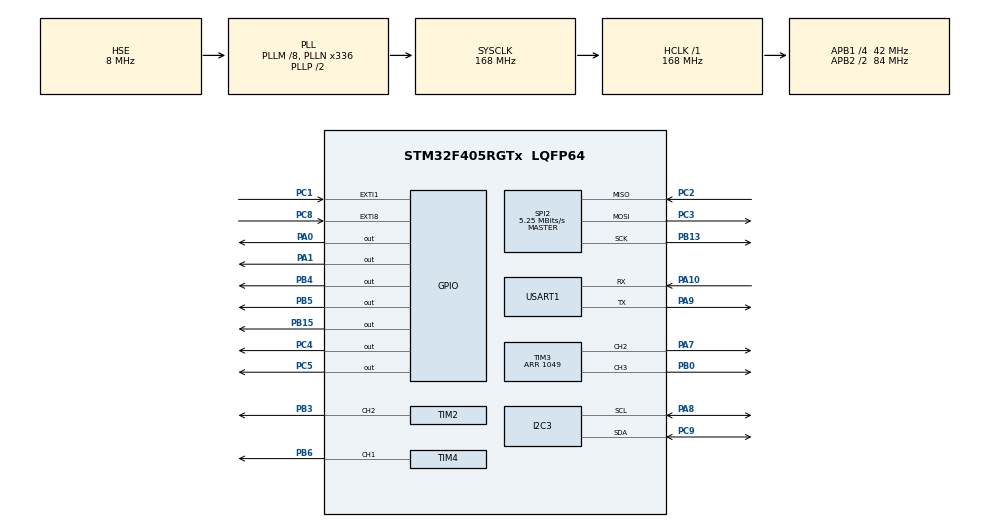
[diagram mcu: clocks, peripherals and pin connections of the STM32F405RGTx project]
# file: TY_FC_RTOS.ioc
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FREERTOS.INCLUDE_uxTaskGetStackHighWaterMark2=1
FREERTOS.INCLUDE_xEventGroupSetBitFromISR=1
FREERTOS.Tasks01=defaultTask,24,128,StartDefaultTask,Default,NULL,Dynamic,NULL,NULL
FREERTOS.configCHECK_FOR_STACK_OVERFLOW=2
FREERTOS.configUSE_MALLOC_FAILED_HOOK=1
Mcu.Family=STM32F4
Mcu.Name=STM32F405RGTx
Mcu.Package=LQFP64
NVIC.PriorityGroup=NVIC_PRIORITYGROUP_4
NVIC.TIM1_UP_TIM10_IRQn=true\:15\:0\:false\:false\:true\:false\:false\:true\:true
NVIC.TimeBase=TIM1_UP_TIM10_IRQn
NVIC.TimeBaseIP=TIM1
PA0-WKUP.Signal=GPIO_Output
PA1.Signal=GPIO_Output
PA10.Mode=Asynchronous
PA10.Signal=USART1_RX
PA13.Mode=Serial_Wire
PA13.Signal=SYS_JTMS-SWDIO
PA14.Mode=Serial_Wire
PA14.Signal=SYS_JTCK-SWCLK
PA7.Signal=S_TIM3_CH2
PA8.Mode=I2C
PA8.Signal=I2C3_SCL
PA9.Mode=Asynchronous
PA9.Signal=USART1_TX
PB0.Signal=S_TIM3_CH3
PB13.Mode=Full_Duplex_Master
PB13.Signal=SPI2_SCK
PB15.Signal=GPIO_Output
PB3.Signal=S_TIM2_CH2
PB4.Signal=GPIO_Output
PB5.Signal=GPIO_Output
PB6.Signal=S_TIM4_CH1
PC1.Signal=GPXTI1
PC2.Mode=Full_Duplex_Master
PC2.Signal=SPI2_MISO
PC3.Mode=Full_Duplex_Master
PC3.Signal=SPI2_MOSI
PC4.Signal=GPIO_Output
PC5.Signal=GPIO_Output
PC8.Signal=GPXTI8
PC9.Mode=I2C
PC9.Signal=I2C3_SDA
PH0-OSC_IN.Mode=HSE-External-Oscillator
PH0-OSC_IN.Signal=RCC_OSC_IN
PH1-OSC_OUT.Mode=HSE-External-Oscillator
PH1-OSC_OUT.Signal=RCC_OSC_OUT
ProjectManager.HeapSize=0x200
ProjectManager.StackSize=0x400
ProjectManager.TargetToolchain=MDK-ARM V5.32
RCC.48MHZClocksFreq_Value=84000000
RCC.AHBFreq_Value=168000000
RCC.APB1CLKDivider=RCC_HCLK_DIV4
RCC.APB1Freq_Value=42000000
RCC.APB1TimFreq_Value=84000000
RCC.APB2CLKDivider=RCC_HCLK_DIV2
RCC.APB2Freq_Value=84000000
RCC.APB2TimFreq_Value=168000000
RCC.CortexFreq_Value=168000000
RCC.HCLKFreq_Value=168000000
RCC.HSE_VALUE=8000000
RCC.HSI_VALUE=16000000
RCC.LSE_VALUE=32768
RCC.PLLM=8
RCC.PLLN=336
RCC.PLLSourceVirtual=RCC_PLLSOURCE_HSE
RCC.SYSCLKFreq_VALUE=168000000
RCC.SYSCLKSource=RCC_SYSCLKSOURCE_PLLCLK
RCC.VCOOutputFreq_Value=336000000
SH.S_TIM2_CH2.0=TIM2_CH2,PWM Generation2 CH2
SH.S_TIM3_CH2.0=TIM3_CH2,PWM Generation2 CH2
SH.S_TIM3_CH3.0=TIM3_CH3,PWM Generation3 CH3
SH.S_TIM4_CH1.0=TIM4_CH1,PWM Generation1 CH1
SPI2.BaudRatePrescaler=SPI_BAUDRATEPRESCALER_8
SPI2.CalculateBaudRate=5.25 MBits/s
SPI2.Direction=SPI_DIRECTION_2LINES
SPI2.Mode=SPI_MODE_MASTER
SPI2.VirtualType=VM_MASTER
TIM2.Channel-PWM\ Generation2\ CH2=TIM_CHANNEL_2
TIM3.Channel-PWM\ Generation2\ CH2=TIM_CHANNEL_2
TIM3.Channel-PWM\ Generation3\ CH3=TIM_CHANNEL_3
TIM3.Period=1049
TIM4.Channel-PWM\ Generation1\ CH1=TIM_CHANNEL_1
TIM4.Period=1049
USART1.VirtualMode=VM_ASYNC
VP_FREERTOS_VS_CMSIS_V2.Mode=CMSIS_V2
VP_SYS_VS_tim1.Mode=TIM1
board=custom

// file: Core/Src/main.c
/* USER CODE BEGIN Header */
/**
  ******************************************************************************
  * @file           : main.c
  * @brief          : Main program body
  ******************************************************************************
  * @attention
  *
  * Copyright (c) 2026 STMicroelectronics.
  * All rights reserved.
  *
  * This software is licensed under terms that can be found in the LICENSE file
  * in the root directory of this software component.
  * If no LICENSE file comes with this software, it is provided AS-IS.
  *
  ******************************************************************************
  */
/* USER CODE END Header */
#include "main.h"
#include "cmsis_os.h"
#include "i2c.h"
#include "spi.h"
#include "tim.h"
#include "usart.h"
#include "gpio.h"

/* USER CODE BEGIN Includes */
#include "mytask.h"
/* USER CODE END Includes */

void SystemClock_Config(void);
void MX_FREERTOS_Init(void);

int main(void)
{

  /* MCU Configuration--------------------------------------------------------*/

  /* Reset of all peripherals, Initializes the Flash interface and the Systick. */
  HAL_Init();

  /* Configure the system clock */
  SystemClock_Config();

  /* Initialize all configured peripherals */
  MX_GPIO_Init();
  MX_I2C3_Init();
  MX_SPI2_Init();
  MX_TIM2_Init();
  MX_TIM3_Init();
  MX_TIM4_Init();
  MX_USART1_UART_Init();
  /* USER CODE BEGIN 2 */
  HAL_GPIO_WritePin(GPIOB, GPIO_PIN_15, GPIO_PIN_SET);
  NRF_Init();
  HAL_Delay(500);
  mpu6050_init();
  HAL_Delay(500);
  HAL_GPIO_WritePin(GPIOB, GPIO_PIN_15, GPIO_PIN_RESET);
  /* USER CODE END 2 */

  /* Init scheduler */
  osKernelInitialize();  /* Call init function for freertos objects (in cmsis_os2.c) */
  MX_FREERTOS_Init();

  /* Start scheduler */
  osKernelStart();
  /* We should never get here as control is now taken by the scheduler */

  /* Infinite loop */
  while (1)
  {

  }
}

void SystemClock_Config(void)
{
  RCC_OscInitTypeDef RCC_OscInitStruct = {0};
  RCC_ClkInitTypeDef RCC_ClkInitStruct = {0};

  /** Configure the main internal regulator output voltage
  */
  __HAL_RCC_PWR_CLK_ENABLE();
  __HAL_PWR_VOLTAGESCALING_CONFIG(PWR_REGULATOR_VOLTAGE_SCALE1);

  /** Initializes the RCC Oscillators according to the specified parameters
  * in the RCC_OscInitTypeDef structure.
  */
  RCC_OscInitStruct.OscillatorType = RCC_OSCILLATORTYPE_HSE;
  RCC_OscInitStruct.HSEState = RCC_HSE_ON;
  RCC_OscInitStruct.PLL.PLLState = RCC_PLL_ON;
  RCC_OscInitStruct.PLL.PLLSource = RCC_PLLSOURCE_HSE;
  RCC_OscInitStruct.PLL.PLLM = 8;
  RCC_OscInitStruct.PLL.PLLN = 336;
  RCC_OscInitStruct.PLL.PLLP = RCC_PLLP_DIV2;
  RCC_OscInitStruct.PLL.PLLQ = 4;
  if (HAL_RCC_OscConfig(&RCC_OscInitStruct) != HAL_OK)
  {
    Error_Handler();
  }

  /** Initializes the CPU, AHB and APB buses clocks
  */
  RCC_ClkInitStruct.ClockType = RCC_CLOCKTYPE_HCLK|RCC_CLOCKTYPE_SYSCLK
                              |RCC_CLOCKTYPE_PCLK1|RCC_CLOCKTYPE_PCLK2;
  RCC_ClkInitStruct.SYSCLKSource = RCC_SYSCLKSOURCE_PLLCLK;
  RCC_ClkInitStruct.AHBCLKDivider = RCC_SYSCLK_DIV1;
  RCC_ClkInitStruct.APB1CLKDivider = RCC_HCLK_DIV4;
  RCC_ClkInitStruct.APB2CLKDivider = RCC_HCLK_DIV2;

  if (HAL_RCC_ClockConfig(&RCC_ClkInitStruct, FLASH_LATENCY_5) != HAL_OK)
  {
    Error_Handler();
  }
}

void HAL_TIM_PeriodElapsedCallback(TIM_HandleTypeDef *htim)
{
  if (htim->Instance == TIM1)
  {
    HAL_IncTick();
  }
}

void Error_Handler(void)
{
  __disable_irq();
  while (1)
  {
  }
}

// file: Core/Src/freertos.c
/* USER CODE BEGIN Header */
/**
  ******************************************************************************
  * File Name          : freertos.c
  * Description        : Code for freertos applications
  ******************************************************************************
  * @attention
  *
  * Copyright (c) 2026 STMicroelectronics.
  * All rights reserved.
  *
  * This software is licensed under terms that can be found in the LICENSE file
  * in the root directory of this software component.
  * If no LICENSE file comes with this software, it is provided AS-IS.
  *
  ******************************************************************************
  */
/* USER CODE END Header */

#include "FreeRTOS.h"
#include "task.h"
#include "main.h"
#include "cmsis_os.h"

/* USER CODE BEGIN Includes */
#include "queue.h"
#include "MPU6050_0.h"
#include "PID.h"
#include "NRF24L01.h"
#include "Filter.h"
#include "tim.h"
#include "spi.h"
#include "semphr.h"
#include <stdio.h>
/* USER CODE END Includes */

/* USER CODE BEGIN PD */
#define TASK_PRIORITY_NRF osPriorityNormal
#define TASK_PRIORITY_MPU osPriorityNormal
#define TASK_PRIORITY_PID osPriorityNormal

#define TASK_STACK_SIZE_NRF  512
#define TASK_STACK_SIZE_MPU  512
#define TASK_STACK_SIZE_PID  512

#define QUEUE_LENGTH_MPU_DATA     1
#define QUEUE_LENGTH_NRF_DATA     1

#define MAX_SPEED 839
#define INIT_SPEED 0
#define M1_OFFEST_K 0.93f
#define M2_OFFEST_K 1.0f
#define M3_OFFEST_K 0.9f
#define M4_OFFEST_K 0.93f

// typedef struct {
//     float gyro_x;    // 角速度 (deg/s)
//     float gyro_y;
//     float gyro_z;
//     float roll;     // 加速度 (g)
//     float pitch;
// } MPU_Data_t;

PID_Struct pitch_pid = {.kp = 10.0f,.ki = 0.0f ,.kd = 0.0f};
PID_Struct gyro_y_pid ={.kp = 0.48f,.ki = 0.0f ,.kd = 0.04f};
PID_Struct roll_pid = {.kp = 10.0f,.ki = 0.0f ,.kd = 0.0f};
PID_Struct gyro_x_pid ={.kp = 0.48f,.ki = 0.0f ,.kd = 0.04f};
PID_Struct gyro_z_pid ={.kp = 0.5f,.ki = 0.0f ,.kd = 0.0f};

void MPU6050_ReadTask(void *argument);
void NRF24L01_RecvTask(void *argument);
void PID_Task(void *argument);
void PID_Process(float roll_angle,float pitch_angle,float dt,MPU_Data_PID_t *mpu_pid);
void Start_Wait(void);
void motor_init_obyo(void);
void motor_init_together(void);
void speed_contral(int *value);
void setup_contral(int *setup);
void Motor_Totol_Control(Target_State_t *motor_target_state);
void NRF_Init(void);

Target_State_t target_state = {.target_speed = 0,.target_roll = 0,.target_pitch = 0};

int m1_value = 0;
int m2_value = 0;
int m3_value = 0;
int m4_value = 0;

int m1_step = 0;
int m2_step = 0;
int m3_step = 0;
int m4_step = 0;
/* USER CODE END PD */

/* USER CODE BEGIN PM */
osThreadId_t MPU6050_ReadTaskHandle;
osThreadId_t NRF24L01_RecvTaskHandle;
osThreadId_t PID_CalcTaskHandle;
osThreadId_t Motor_CtrlTaskHandle;

osMessageQueueId_t MPU_DataQueueHandle;
osMessageQueueId_t NRF_RecvQueueHandle;

osSemaphoreId_t NRF_RecvSemaphoreHandle;
/* USER CODE END PM */

/* USER CODE BEGIN Variables */
void Start_task(void);
/* USER CODE END Variables */
/* Definitions for defaultTask */
osThreadId_t defaultTaskHandle;
const osThreadAttr_t defaultTask_attributes = {
  .name = "defaultTask",
  .stack_size = 128 * 4,
  .priority = (osPriority_t) osPriorityNormal,
};

/* USER CODE BEGIN FunctionPrototypes */
const osThreadAttr_t MPU6050_ReadTask_attributes = {
  .name = "MPU6050_ReadTask",
  .stack_size = TASK_STACK_SIZE_MPU * 4,
  .priority = TASK_PRIORITY_MPU,
};

const osThreadAttr_t NRF24L01_RecvTask_attributes = {
  .name = "NRF24L01_RecvTask",
  .stack_size = TASK_STACK_SIZE_NRF * 4,
  .priority = TASK_PRIORITY_NRF,
};

const osThreadAttr_t PID_CalcTask_attributes = {
  .name = "PID_CalcTask",
  .stack_size = TASK_STACK_SIZE_PID * 4,
  .priority = TASK_PRIORITY_PID,
};

const osMessageQueueAttr_t IMU_DataQueue_attributes = {
  .name = "IMU_DataQueue"
};
const osMessageQueueAttr_t NRF_RecvQueue_attributes = {
  .name = "NRF_RecvQueue"
};

const osSemaphoreAttr_t NRF_RecvSemaphore_attributes = {
  .name = "NRF_RecvSemaphore"
};
/* USER CODE END FunctionPrototypes */

void StartDefaultTask(void *argument);

void MX_FREERTOS_Init(void); /* (MISRA C 2004 rule 8.1) */

/* Hook prototypes */
void vApplicationStackOverflowHook(xTaskHandle xTask, signed char *pcTaskName);
void vApplicationMallocFailedHook(void);

/* USER CODE BEGIN 4 */
void vApplicationStackOverflowHook(xTaskHandle xTask, signed char *pcTaskName)
{
   /* Run time stack overflow checking is performed if
   configCHECK_FOR_STACK_OVERFLOW is defined to 1 or 2. This hook function is
   called if a stack overflow is detected. */
}
/* USER CODE END 4 */

/* USER CODE BEGIN 5 */
void vApplicationMallocFailedHook(void)
{
   /* vApplicationMallocFailedHook() will only be called if
   configUSE_MALLOC_FAILED_HOOK is set to 1 in FreeRTOSConfig.h. It is a hook
   function that will get called if a call to pvPortMalloc() fails.
   pvPortMalloc() is called internally by the kernel whenever a task, queue,
   timer or semaphore is created. It is also called by various parts of the
   demo application. If heap_1.c or heap_2.c are used, then the size of the
   heap available to pvPortMalloc() is defined by configTOTAL_HEAP_SIZE in
   FreeRTOSConfig.h, and the xPortGetFreeHeapSize() API function can be used
   to query the size of free heap space that remains (although it does not
   provide information on how the remaining heap might be fragmented). */
}
/* USER CODE END 5 */

void MX_FREERTOS_Init(void) {
  /* USER CODE BEGIN Init */
  NRF_RecvSemaphoreHandle = osSemaphoreNew(1, 0, &NRF_RecvSemaphore_attributes);

  /* 创建消息队列 */
  MPU_DataQueueHandle = osMessageQueueNew(QUEUE_LENGTH_MPU_DATA, sizeof(MPU_Data_PID_t), &IMU_DataQueue_attributes);
  NRF_RecvQueueHandle = osMessageQueueNew(QUEUE_LENGTH_NRF_DATA, sizeof(Target_State_t), &NRF_RecvQueue_attributes);

  /* 创建任务 */
  MPU6050_ReadTaskHandle = osThreadNew(MPU6050_ReadTask, NULL, &MPU6050_ReadTask_attributes);
  NRF24L01_RecvTaskHandle = osThreadNew(NRF24L01_RecvTask, NULL, &NRF24L01_RecvTask_attributes);
  PID_CalcTaskHandle = osThreadNew(PID_Task, NULL, &PID_CalcTask_attributes);

  if (MPU6050_ReadTaskHandle == NULL)
  {
      printf("MPU task create failed\r\n");
  }
  else
  {
      printf("MPU task create ok\r\n");
  }

  if (NRF24L01_RecvTaskHandle == NULL)
  {
      printf("NRF task create failed\r\n");
  }
  else
  {
      printf("NRF task create ok\r\n");
  }

  if (PID_CalcTaskHandle == NULL)
  {
      printf("PID task create failed\r\n");
  }
  else
  {
      printf("PID task create ok\r\n");
  }

  /* USER CODE END Init */

  /* Create the thread(s) */
  /* creation of defaultTask */
  defaultTaskHandle = osThreadNew(StartDefaultTask, NULL, &defaultTask_attributes);

}

void StartDefaultTask(void *argument)
{
  for(;;)
  {
    osDelay(1);
  }
}

/* USER CODE BEGIN Application */
void MPU6050_ReadTask(void *argument)
{
  // printf("MPU_Read_Task_Start\n");
  MPU_Data_PID_t mpu_pid_data_send;
  uint32_t next_wake_time;
  next_wake_time = osKernelGetTickCount();
  uint16_t print_cnt = 0;
  MPU_Data_PID_t old_data;
  while (1)
  {
    MPU6050_GETANGLE(0.005,&mpu_pid_data_send);
     if (++print_cnt >= 100)
        {
          print_cnt = 0;
          // printf("MPU roll=%.1f pitch=%.1f gx=%.1f gy=%.1f gz=%.1f\r\n",
          //          (double)mpu_pid_data_send.roll,
          //          (double)mpu_pid_data_send.pitch,
          //          (double)mpu_pid_data_send.gyro_x,
          //          (double)mpu_pid_data_send.gyro_y,
          //          (double)mpu_pid_data_send.gyro_z);
        }
        if (osMessageQueuePut(MPU_DataQueueHandle, &mpu_pid_data_send, 0, 0) != osOK)
        {
            osMessageQueueGet(MPU_DataQueueHandle, &old_data, NULL, 0);
            osMessageQueuePut(MPU_DataQueueHandle, &mpu_pid_data_send, 0, 0);
        }
    next_wake_time += 5;
    osDelayUntil(next_wake_time);
  }
}
void PID_Task(void *argument)
{
  // printf("PID_Task_Start\n");
  Target_State_t PID_Target_State = {0};
  MPU_Data_PID_t mpu_pid_data_recv = {0};
  uint32_t next_wake_time;
  next_wake_time = osKernelGetTickCount();
  uint16_t print_cnt = 0;
  while (1)
  {
    if (osMessageQueueGet(MPU_DataQueueHandle, &mpu_pid_data_recv, NULL, 0) == osOK) {

    }else{
      // printf("mpu_pid_data_recv_Error\n");
    }
    if(osMessageQueueGet(NRF_RecvQueueHandle, &PID_Target_State, NULL, 0) == osOK){

    }
    else{
      // printf("PID_Target_State_Error\n");
      PID_Target_State.target_roll = 0.0;
      PID_Target_State.target_pitch = 0.0;
    }
    if (++print_cnt >= 100)
      {
          print_cnt = 0;

          // printf("PID recv roll=%.1f pitch=%.1f gx=%.1f gy=%.1f gz=%.1f\r\n",
          //         (double)mpu_pid_data_recv.roll,
          //         (double)mpu_pid_data_recv.pitch,
          //         (double)mpu_pid_data_recv.gyro_x,
          //         (double)mpu_pid_data_recv.gyro_y,
          //         (double)mpu_pid_data_recv.gyro_z);
      }
    PID_Process(PID_Target_State.target_roll,PID_Target_State.target_pitch,0.005,&mpu_pid_data_recv);
    Motor_Totol_Control(&PID_Target_State);
    next_wake_time += 5;
    osDelayUntil(next_wake_time);
  }

}

void NRF24L01_RecvTask(void *argument)
{
  // printf("NRF24L01_RecvTask_START\n");
  while (1)
  {
    Target_State_t NRF_Target_State = {0.0,0.0,0.0};
    osSemaphoreAcquire(NRF_RecvSemaphoreHandle, osWaitForever);
    NRF24L01_data_care(&NRF_Target_State);
    if (osMessageQueuePut(NRF_RecvQueueHandle, &NRF_Target_State, 0, 0) != osOK)
    {
      Target_State_t old_data;
      osMessageQueueGet(NRF_RecvQueueHandle, &old_data, NULL, 0);
      osMessageQueuePut(NRF_RecvQueueHandle, &NRF_Target_State, 0, 0);
    }
    NRF24L01_ClearInterruptFlags(&hspi2, NRF_STATUS_RX_DR);
    HAL_GPIO_TogglePin(GPIOB,GPIO_PIN_15);
  }

}

void PID_Process(float roll_angle,float pitch_angle,float dt,MPU_Data_PID_t *mpu_pid)
{
	pitch_pid.desire = pitch_angle;
	pitch_pid.measure = mpu_pid->pitch;
	gyro_y_pid.measure = mpu_pid->gyro_y;
	PID_Circulate_Chain(&pitch_pid,&gyro_y_pid,dt);

	roll_pid.desire = roll_angle;
	roll_pid.measure = mpu_pid->roll;
	gyro_x_pid.measure = mpu_pid->gyro_x;
	PID_Circulate_Chain(&roll_pid,&gyro_x_pid,dt);

  gyro_z_pid.desire = 0;
  gyro_z_pid.measure = mpu_pid->gyro_z;
  PID_Circulate(&gyro_z_pid,dt);
}

void setup_contral(int *setup)
{
	if(*setup > 839)
		*setup = 839;
	else if(*setup < -839)
		*setup = -839;
}

void Motor_Totol_Control(Target_State_t *motor_target_state)
{
  //串式
	m1_step = (int)(gyro_x_pid.output +gyro_y_pid.output - gyro_z_pid.output);
	m2_step = (int)(-gyro_x_pid.output +gyro_y_pid.output - gyro_z_pid.output);
	m3_step = (int)(-gyro_x_pid.output -gyro_y_pid.output - gyro_z_pid.output);
	m4_step = (int)(gyro_x_pid.output -gyro_y_pid.output - gyro_z_pid.output);

	setup_contral(&m1_step);
	setup_contral(&m2_step);
	setup_contral(&m3_step);
	setup_contral(&m4_step);

	m1_value=839.0f*motor_target_state->target_speed/10.0f*M1_OFFEST_K + m1_step*M1_OFFEST_K;
	m2_value=839.0f-839.0f*motor_target_state->target_speed/10.0f*M2_OFFEST_K + m2_step*M2_OFFEST_K;
	m3_value=839.0f*motor_target_state->target_speed/10.0f*M3_OFFEST_K + m3_step*M3_OFFEST_K;
	m4_value=839.0f-839.0f*motor_target_state->target_speed/10.0f*M4_OFFEST_K + m4_step*M4_OFFEST_K;

	speed_contral(&m1_value);
	speed_contral(&m2_value);
	speed_contral(&m3_value);
	speed_contral(&m4_value);

	// __HAL_TIM_SetCompare(&htim3, TIM_CHANNEL_2, m1_value);
	// __HAL_TIM_SetCompare(&htim4, TIM_CHANNEL_1, m2_value);
	// __HAL_TIM_SetCompare(&htim2, TIM_CHANNEL_2, m3_value);
	// __HAL_TIM_SetCompare(&htim3, TIM_CHANNEL_3, m4_value);
}

void NRF_Init(void)
{
  NRF_InitTypeDef nrf_init;
  NRF24L01_GetDefaultConfig(&nrf_init);
  NRF24L01_Init(&hspi2, &nrf_init);
	NRF24L01_SetMode(&hspi2, NRF_MODE_RX);
}

void HAL_GPIO_EXTI_Callback(uint16_t GPIO_Pin)
{

    if(GPIO_Pin == GPIO_PIN_1)
    {
      osSemaphoreRelease(NRF_RecvSemaphoreHandle);
    }
}

void speed_contral(int *value)
{
  if(*value > 839)
    *value = 839;
  else if(*value < -839)
    *value = -839;
}
/* USER CODE END Application */
